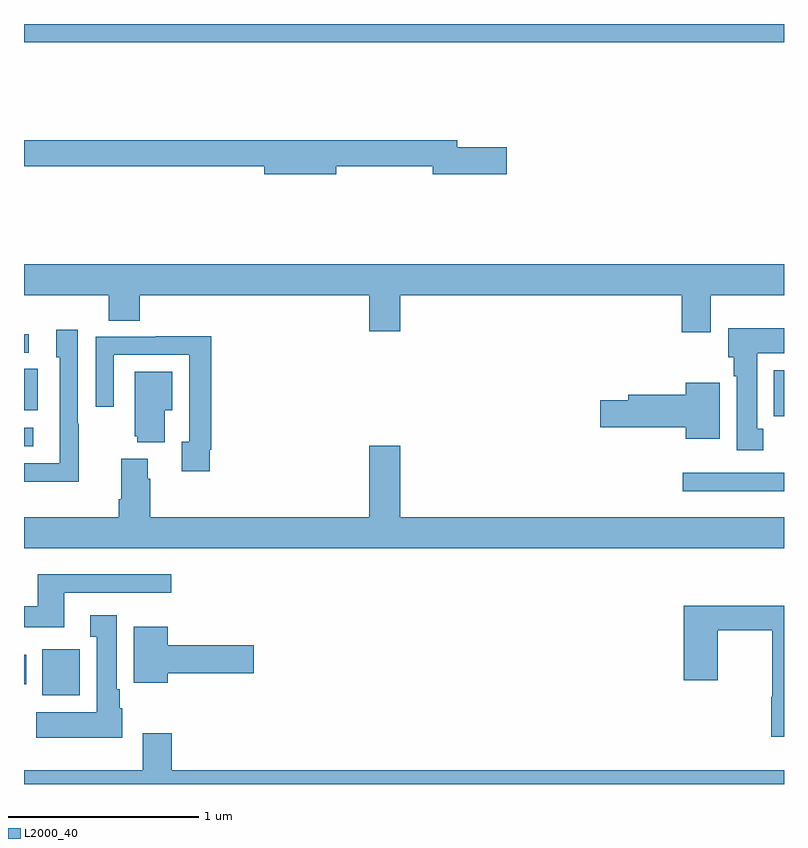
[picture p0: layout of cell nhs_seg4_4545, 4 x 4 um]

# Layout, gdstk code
import gdstk
lib = gdstk.Library(unit=1e-6, precision=1e-09)
def R(c, l, rs):  # rectangles x0, y0, x1, y1
    for r in rs: c.add(gdstk.rectangle(r[:2], r[2:], *l))
def P(c, l, *ps):  # polygons
    for p in ps: c.add(gdstk.Polygon(p, *l))
L2000_40 = (2000, 40)

nhs_seg4_4545 = lib.new_cell('nhs_seg4_4545')
R(nhs_seg4_4545, L2000_40, [(355.097,809.366,355.294,809.608), (355,809.425,355.012,809.581), (358.467,810.44,359,810.537), (355,810.678,355.048,810.774), (358.946,810.836,359,811.078), (355,810.866,355.072,811.085), (355,811.17,355.024,811.268), (355,812.804,359,812.9)])
P(nhs_seg4_4545, L2000_40, [(356.644,812.152),(357.152,812.152),(357.152,812.11),(357.541,812.11),(357.541,812.252),(357.28,812.252),(357.28,812.288),(355,812.288),(355,812.152),(356.264,812.152),(356.264,812.11),(356.644,812.11)],
  [(358.615,811.472),(359,811.472),(359,811.636),(355,811.636),(355,811.472),(355.445,811.472),(355.445,811.339),(355.61,811.339),(355.61,811.472),(356.816,811.472),(356.816,811.284),(356.98,811.284),(356.98,811.472),(358.463,811.472),(358.463,811.278),(358.615,811.278)],
  [(358.891,810.77),(358.858,810.77),(358.858,811.166),(359,811.166),(359,811.3),(358.706,811.3),(358.706,811.146),(358.736,811.146),(358.736,811.046),(358.751,811.046),(358.751,810.657),(358.891,810.657)],
  [(355.287,810.797),(355.284,810.797),(355.284,811.291),(355.169,811.291),(355.169,811.146),(355.188,811.146),(355.188,810.588),(355,810.588),(355,810.491),(355.287,810.491)],
  [(355.978,810.658),(355.985,810.658),(355.985,811.256),(355.693,811.256),(355.693,811.254),(355.377,811.254),(355.377,810.885),(355.473,810.885),(355.473,811.158),(355.869,811.158),(355.869,810.702),(355.829,810.702),(355.829,810.546),(355.978,810.546)],
  [(355.741,810.866),(355.78,810.866),(355.78,811.069),(355.583,811.069),(355.583,810.729),(355.595,810.729),(355.595,810.698),(355.741,810.698)],
  [(358.663,811.012),(358.484,811.012),(358.484,810.95),(358.181,810.95),(358.181,810.92),(358.032,810.92),(358.032,810.778),(358.484,810.778),(358.484,810.716),(358.663,810.716)],
  [(359,810.304),(356.98,810.304),(356.98,810.679),(356.816,810.679),(356.816,810.304),(355.664,810.304),(355.664,810.506),(355.651,810.506),(355.651,810.613),(355.511,810.613),(355.511,810.4),(355.499,810.4),(355.499,810.304),(355,810.304),(355,810.14),(359,810.14)],
  [(355.213,809.907),(355.774,809.907),(355.774,810.004),(355.073,810.004),(355.073,809.836),(355,809.836),(355,809.726),(355.213,809.726)],
  [(359,809.839),(358.472,809.839),(358.472,809.445),(358.65,809.445),(358.65,809.71),(358.939,809.71),(358.939,809.36),(358.934,809.36),(358.934,809.148),(359,809.148)],
  [(355.516,809.298),(355.504,809.298),(355.504,809.398),(355.489,809.398),(355.489,809.788),(355.349,809.788),(355.349,809.675),(355.382,809.675),(355.382,809.278),(355.065,809.278),(355.065,809.144),(355.516,809.144)],
  [(355.756,809.483),(356.209,809.483),(356.209,809.63),(355.756,809.63),(355.756,809.728),(355.577,809.728),(355.577,809.432),(355.756,809.432)],
  [(355.778,809.167),(355.625,809.167),(355.625,808.972),(355,808.972),(355,808.9),(359,808.9),(359,808.972),(355.778,808.972)])

lib.write_gds('nhs_seg4_4545.gds')
